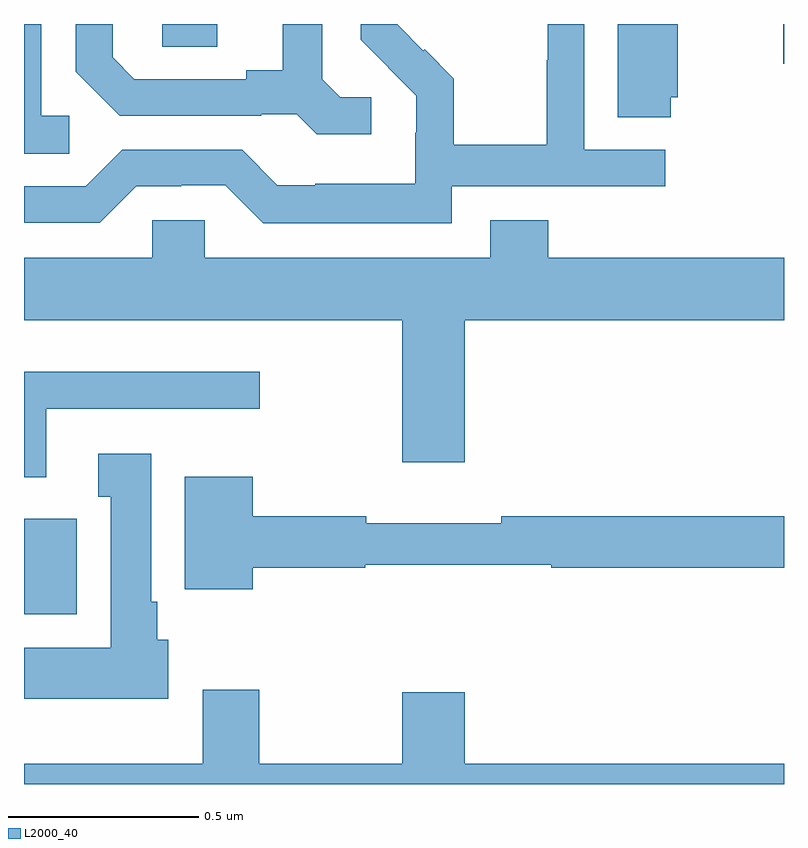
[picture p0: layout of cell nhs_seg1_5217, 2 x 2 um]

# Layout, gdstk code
import gdstk
lib = gdstk.Library(unit=1e-6, precision=1e-09)
def R(c, l, rs):  # rectangles x0, y0, x1, y1
    for r in rs: c.add(gdstk.rectangle(r[:2], r[2:], *l))
def P(c, l, *ps):  # polygons
    for p in ps: c.add(gdstk.Polygon(p, *l))
L2000_40 = (2000, 40)

nhs_seg1_5217 = lib.new_cell('nhs_seg1_5217')
R(nhs_seg1_5217, L2000_40, [(176,529.646,176.139,529.897), (177.998,531.095,178,531.199), (176.364,531.139,176.509,531.199)])
P(nhs_seg1_5217, L2000_40, [(177.702,531.006),(177.721,531.006),(177.721,531.199),(177.563,531.199),(177.563,530.953),(177.702,530.953)],
  [(176.914,531.006),(176.832,531.006),(176.785,531.053),(176.785,531.199),(176.681,531.199),(176.681,531.077),(176.585,531.077),(176.585,531.054),(176.29,531.054),(176.233,531.111),(176.233,531.199),(176.136,531.199),(176.136,531.074),(176.252,530.958),(176.624,530.958),(176.624,530.961),(176.718,530.961),(176.77,530.909),(176.914,530.909)],
  [(177.126,530.772),(177.688,530.772),(177.688,530.868),(177.474,530.868),(177.474,531.199),(177.378,531.199),(177.378,531.104),(177.376,531.104),(177.376,530.881),(177.131,530.881),(177.131,531.055),(177.054,531.132),(177.051,531.129),(176.982,531.199),(176.886,531.199),(176.886,531.158),(176.959,531.085),(176.958,531.084),(177.032,531.01),(177.032,530.913),(177.03,530.913),(177.03,530.779),(176.767,530.779),(176.767,530.775),(176.667,530.775),(176.574,530.868),(176.259,530.868),(176.163,530.772),(176,530.772),(176,530.676),(176.199,530.676),(176.295,530.772),(176.414,530.772),(176.414,530.775),(176.529,530.775),(176.629,530.675),(177.126,530.675)],
  [(176.119,530.958),(176.046,530.958),(176.046,531.199),(176,531.199),(176,530.857),(176.119,530.857)],
  [(177.16,530.42),(178,530.42),(178,530.584),(177.38,530.584),(177.38,530.683),(177.227,530.683),(177.227,530.584),(176.475,530.584),(176.475,530.682),(176.337,530.682),(176.337,530.584),(176,530.584),(176,530.42),(176.996,530.42),(176.996,530.046),(177.16,530.046)],
  [(176.059,530.187),(176.62,530.187),(176.62,530.284),(176,530.284),(176,530.006),(176.059,530.006)],
  [(176.38,529.578),(176.35,529.578),(176.35,529.678),(176.335,529.678),(176.335,530.068),(176.195,530.068),(176.195,529.955),(176.228,529.955),(176.228,529.558),(176,529.558),(176,529.424),(176.38,529.424)],
  [(176.602,529.768),(176.898,529.768),(176.898,529.776),(177.387,529.776),(177.387,529.768),(178,529.768),(178,529.904),(177.256,529.904),(177.256,529.885),(176.9,529.885),(176.9,529.904),(176.602,529.904),(176.602,530.008),(176.423,530.008),(176.423,529.712),(176.602,529.712)],
  [(178,529.252),(177.16,529.252),(177.16,529.441),(176.996,529.441),(176.996,529.252),(176.619,529.252),(176.619,529.447),(176.471,529.447),(176.471,529.252),(176,529.252),(176,529.199),(178,529.199)])

lib.write_gds('nhs_seg1_5217.gds')
